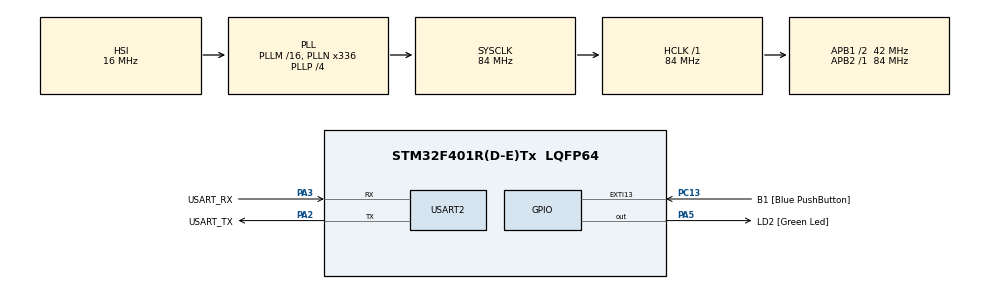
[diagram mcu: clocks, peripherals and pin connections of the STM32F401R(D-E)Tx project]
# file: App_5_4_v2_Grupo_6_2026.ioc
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Mcu.Family=STM32F4
Mcu.Name=STM32F401R(D-E)Tx
Mcu.Package=LQFP64
NVIC.PriorityGroup=NVIC_PRIORITYGROUP_4
PA13.GPIO_Label=TMS
PA13.Mode=Trace_Asynchronous_SW
PA13.Signal=SYS_JTMS-SWDIO
PA14.GPIO_Label=TCK
PA14.Mode=Trace_Asynchronous_SW
PA14.Signal=SYS_JTCK-SWCLK
PA2.GPIO_Label=USART_TX
PA2.GPIO_Mode=GPIO_MODE_AF_PP
PA2.GPIO_PuPd=GPIO_NOPULL
PA2.GPIO_Speed=GPIO_SPEED_FREQ_LOW
PA2.Mode=Asynchronous
PA2.Signal=USART2_TX
PA3.GPIO_Label=USART_RX
PA3.GPIO_Mode=GPIO_MODE_AF_PP
PA3.GPIO_PuPd=GPIO_NOPULL
PA3.GPIO_Speed=GPIO_SPEED_FREQ_LOW
PA3.Mode=Asynchronous
PA3.Signal=USART2_RX
PA5.GPIO_Label=LD2 [Green Led]
PA5.GPIO_Mode=GPIO_MODE_OUTPUT_PP
PA5.GPIO_PuPd=GPIO_NOPULL
PA5.GPIO_Speed=GPIO_SPEED_FREQ_LOW
PA5.Signal=GPIO_Output
PB3.GPIO_Label=SWO
PB3.Mode=Trace_Asynchronous_SW
PB3.Signal=SYS_JTDO-SWO
PC13-ANTI_TAMP.GPIO_Label=B1 [Blue PushButton]
PC13-ANTI_TAMP.GPIO_ModeDefaultEXTI=GPIO_MODE_IT_FALLING
PC13-ANTI_TAMP.GPIO_PuPd=GPIO_NOPULL
PC13-ANTI_TAMP.Signal=GPXTI13
PC14-OSC32_IN.Mode=LSE-External-Oscillator
PC14-OSC32_IN.Signal=RCC_OSC32_IN
PC15-OSC32_OUT.Mode=LSE-External-Oscillator
PC15-OSC32_OUT.Signal=RCC_OSC32_OUT
PH0\ -\ OSC_IN.Mode=HSE-External-Clock-Source
PH0\ -\ OSC_IN.Signal=RCC_OSC_IN
PH1\ -\ OSC_OUT.Mode=HSE-External-Clock-Source
PH1\ -\ OSC_OUT.Signal=RCC_OSC_OUT
ProjectManager.HeapSize=0x200
ProjectManager.StackSize=0x400
ProjectManager.TargetToolchain=STM32CubeIDE
RCC.48MHZClocksFreq_Value=48000000
RCC.AHBFreq_Value=84000000
RCC.APB1CLKDivider=RCC_HCLK_DIV2
RCC.APB1Freq_Value=42000000
RCC.APB1TimFreq_Value=84000000
RCC.APB2Freq_Value=84000000
RCC.APB2TimFreq_Value=84000000
RCC.CortexFreq_Value=84000000
RCC.HCLKFreq_Value=84000000
RCC.HSE_VALUE=8000000
RCC.HSI_VALUE=16000000
RCC.PLLN=336
RCC.PLLP=RCC_PLLP_DIV4
RCC.PLLQ=7
RCC.SYSCLKFreq_VALUE=84000000
RCC.SYSCLKSource=RCC_SYSCLKSOURCE_PLLCLK
RCC.VCOOutputFreq_Value=336000000
USART2.VirtualMode=VM_ASYNC
board=NUCLEO-F401RE

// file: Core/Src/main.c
/* USER CODE BEGIN Header */
/**
  ******************************************************************************
  * @file           : main.c
  * @brief          : Main program body
  ******************************************************************************
  * @attention
  *
  * Copyright (c) 2026 STMicroelectronics.
  * All rights reserved.
  *
  * This software is licensed under terms that can be found in the LICENSE file
  * in the root directory of this software component.
  * If no LICENSE file comes with this software, it is provided AS-IS.
  *
  ******************************************************************************
  */
/* USER CODE END Header */
#include "main.h"

/* USER CODE BEGIN Includes */
#include "API_GPIO.h"
#include "API_delay.h"
#include "API_debounce.h"
/* USER CODE END Includes */

/* USER CODE BEGIN PD */
#define LED1 LED1_Pin
#define LED2 LED2_Pin
#define LED3 LED3_Pin

#define CANT_LEDS    3   /* Cantidad de LEDs del vector LEDS */
#define CANT_TIEMPOS 4   /* Cantidad de tiempos seleccionables */
/* USER CODE END PD */

UART_HandleTypeDef huart2;

void SystemClock_Config(void);
static void MX_USART2_UART_Init(void);

int main(void)
{

  /* USER CODE BEGIN 1 */
	led_t LEDS[CANT_LEDS]={LED1,LED2,LED3};
	delay_t delayLeds;
	tick_t TIEMPOS[CANT_TIEMPOS]={100,250,500,1000};
	uint8_t indiceTiempo=0;
	int8_t indiceLed=0;
  /* USER CODE END 1 */

  /* MCU Configuration--------------------------------------------------------*/

  /* Reset of all peripherals, Initializes the Flash interface and the Systick. */
  HAL_Init();

  /* Configure the system clock */
  SystemClock_Config();

  /* Initialize all configured peripherals */
  MX_GPIO_Init();
  MX_USART2_UART_Init();
  /* USER CODE BEGIN 2 */
  debounceFSM_init();
  delayInit(&delayLeds,TIEMPOS[indiceTiempo]);
  /* USER CODE END 2 */

  /* Infinite loop */
  while (1)
  {

    /* USER CODE BEGIN 3 */
		if(delayRead(&delayLeds))
		{
			for(indiceLed=0;indiceLed<CANT_LEDS;indiceLed++)
			{
				toggleLed_GPIO(LEDS[indiceLed]);
			}
		}
		/* El pulsador de esta placa da 0 al presionarlo: se invierte la lectura */
		debounceFSM_update(!readButton_GPIO());
		if (readKey())
		{
			if(indiceTiempo<CANT_TIEMPOS-1)
				indiceTiempo++;
			else
				indiceTiempo=0;
			delayWrite(&delayLeds,TIEMPOS[indiceTiempo]);
		}
  }
  /* USER CODE END 3 */
}

void SystemClock_Config(void)
{
  RCC_OscInitTypeDef RCC_OscInitStruct = {0};
  RCC_ClkInitTypeDef RCC_ClkInitStruct = {0};

  /** Configure the main internal regulator output voltage
  */
  __HAL_RCC_PWR_CLK_ENABLE();
  __HAL_PWR_VOLTAGESCALING_CONFIG(PWR_REGULATOR_VOLTAGE_SCALE2);

  /** Initializes the RCC Oscillators according to the specified parameters
  * in the RCC_OscInitTypeDef structure.
  */
  RCC_OscInitStruct.OscillatorType = RCC_OSCILLATORTYPE_HSI;
  RCC_OscInitStruct.HSIState = RCC_HSI_ON;
  RCC_OscInitStruct.HSICalibrationValue = RCC_HSICALIBRATION_DEFAULT;
  RCC_OscInitStruct.PLL.PLLState = RCC_PLL_ON;
  RCC_OscInitStruct.PLL.PLLSource = RCC_PLLSOURCE_HSI;
  RCC_OscInitStruct.PLL.PLLM = 16;
  RCC_OscInitStruct.PLL.PLLN = 336;
  RCC_OscInitStruct.PLL.PLLP = RCC_PLLP_DIV4;
  RCC_OscInitStruct.PLL.PLLQ = 7;
  if (HAL_RCC_OscConfig(&RCC_OscInitStruct) != HAL_OK)
  {
    Error_Handler();
  }

  /** Initializes the CPU, AHB and APB buses clocks
  */
  RCC_ClkInitStruct.ClockType = RCC_CLOCKTYPE_HCLK|RCC_CLOCKTYPE_SYSCLK
                              |RCC_CLOCKTYPE_PCLK1|RCC_CLOCKTYPE_PCLK2;
  RCC_ClkInitStruct.SYSCLKSource = RCC_SYSCLKSOURCE_PLLCLK;
  RCC_ClkInitStruct.AHBCLKDivider = RCC_SYSCLK_DIV1;
  RCC_ClkInitStruct.APB1CLKDivider = RCC_HCLK_DIV2;
  RCC_ClkInitStruct.APB2CLKDivider = RCC_HCLK_DIV1;

  if (HAL_RCC_ClockConfig(&RCC_ClkInitStruct, FLASH_LATENCY_2) != HAL_OK)
  {
    Error_Handler();
  }
}

static void MX_USART2_UART_Init(void)
{

  huart2.Instance = USART2;
  huart2.Init.BaudRate = 115200;
  huart2.Init.WordLength = UART_WORDLENGTH_8B;
  huart2.Init.StopBits = UART_STOPBITS_1;
  huart2.Init.Parity = UART_PARITY_NONE;
  huart2.Init.Mode = UART_MODE_TX_RX;
  huart2.Init.HwFlowCtl = UART_HWCONTROL_NONE;
  huart2.Init.OverSampling = UART_OVERSAMPLING_16;
  if (HAL_UART_Init(&huart2) != HAL_OK)
  {
    Error_Handler();
  }

}

void Error_Handler(void)
{
  __disable_irq();
  while (1)
  {
  }
}
